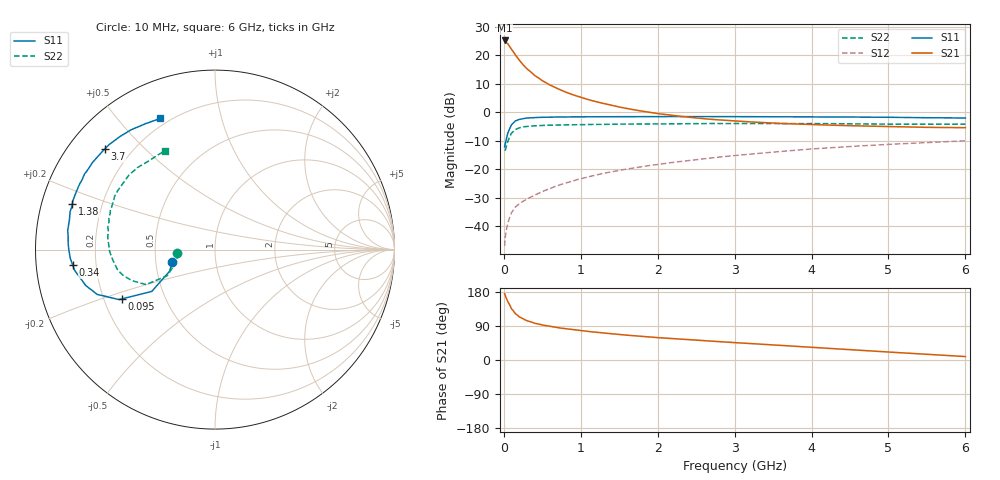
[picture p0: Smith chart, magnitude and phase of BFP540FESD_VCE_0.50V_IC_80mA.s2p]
! Infineon Technologies  Discrete & RF Semiconductors
! BFP540FESD
! VCE = 0.50 V,  IC =  80 mA
! Common Emitter S-Parameters:  Nov 2015
# GHz  S  MA  R  50
!  f  S11  S21  S12  S22
! GHz  MAG  ANG  MAG  ANG  MAG  ANG  MAG  ANG
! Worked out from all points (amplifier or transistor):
!   210 points, 10 MHz to 6 GHz, reference 50 ohm
!   highest |S21| = 25.1 dB at 10 MHz (marker M1)
!   |S21| within 3 dB of that: start of sweep to 98.69 MHz
!   unconditionally stable (mu >= 1): start of sweep to end of sweep
!   at 185 MHz: K = 1.17, MAG = 23.1 dB, |S12| = -32.4 dB
!   at 1.52 GHz: K = 1.34, MAG = 7.5 dB, |S12| = -20.3 dB
!   at 6 GHz: K = 1.22, MAG = -0.5 dB, |S12| = -10.0 dB
!   S11 on the Smith chart (normalised r, x): 10 MHz: 0.61, -0.09; 95 MHz: 0.28, -0.23; 340 MHz: 0.11, -0.05; 1.38 GHz: 0.09, +0.15; 3.7 GHz: 0.11, +0.38; 6 GHz: 0.17, +0.65
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0.01  0.2466 -164.1  18.06 175.1  0.0045 30.3  0.214 -174.6
0.02  0.2808 -154.4  16.92 168.9  0.0067 44.3  0.2182 -164.1
0.05  0.4228 -146.5  15.89 154.3  0.0112 52.2  0.3034 -151.4
0.095  0.5849 -152.1  12.96 137.2  0.0168 50.8  0.4179 -153.0
0.1  0.6032 -152.5  12.73 134.9  0.0174 50.7  0.4306 -153.1
0.15  0.7025 -159.2  10.04 122.3  0.0218 48.1  0.4948 -159.6
0.2  0.747 -164.4  8.147 114.1  0.0248 49.5  0.5328 -164.5
0.26  0.7757 -169.4  6.56 107.2  0.028 50.0  0.556 -168.8
0.3  0.7913 -171.7  5.759 103.7  0.03 51.3  0.5626 -171.1
0.34  0.7972 -173.7  5.213 101.4  0.032 52.3  0.5681 -173.0
0.4  0.8078 -176.6  4.415 97.0  0.0351 53.5  0.5775 -175.8
0.5  0.8147 -180.0  3.565 92.3  0.0407 56.3  0.5877 -179.3
0.6  0.8188 177.5  2.99 88.7  0.046 57.5  0.5912 178.1
0.8  0.8274 172.6  2.26 82.6  0.0571 59.3  0.6012 173.8
1.02  0.8283 168.2  1.786 77.1  0.0693 59.9  0.6042 169.6
1.38  0.8343 162.3  1.339 69.4  0.089 58.5  0.615 164.1
2.02  0.8381 154.1  0.938 58.8  0.1221 55.1  0.6238 157.0
3.1  0.8359 143.4  0.69 44.7  0.1792 47.8  0.6333 148.2
3.7  0.8316 137.6  0.628 37.3  0.2106 42.2  0.6322 142.5
4.1  0.8287 134.2  0.602 32.2  0.2316 38.4  0.6326 138.0
5.1  0.8113 123.8  0.558 19.8  0.2772 27.4  0.6162 126.4
6  0.7916 112.6  0.536 9.1  0.3153 17.6  0.6176 116.7
